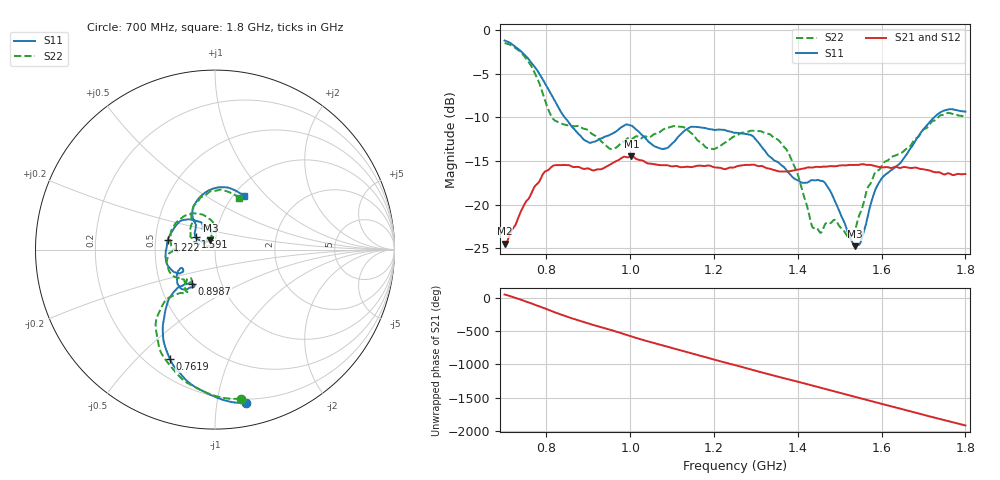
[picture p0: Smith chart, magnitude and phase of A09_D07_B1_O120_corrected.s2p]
! Created with skrf 1.9.0 (http://scikit-rf.org).
# Hz S RI R 50.0
!freq ReS11 ImS11 ReS21 ImS21 ReS12 ImS12 ReS22 ImS22
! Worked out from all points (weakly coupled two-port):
!   1601 points, 700 MHz to 1.8 GHz, reference 50 ohm
!   highest |S21| = -14.47 dB at 1.002 GHz (marker M1); lowest = -24.5 dB at 700 MHz (marker M2)
!   lowest |S11| = -24.7 dB at 1.537 GHz (marker M3), VSWR 1.12, Z = 47.2 + j4.92 ohm
!   |S11| at or under -10 dB: 843.6 MHz to 1.725 GHz (881.5 MHz wide, 68.6 % of centre)
!   |S22| runs from -23.7 to -1.5 dB; largest |S21 - S12| = 0.0037
!   S11 on the Smith chart (normalised r, x): 700 MHz: 0.17, -1.21; 761.9 MHz: 0.29, -0.63; 898.7 MHz: 0.73, -0.29; 1.222 GHz: 0.58, +0.07; 1.591 GHz: 0.80, +0.12; 1.8 GHz: 1.12, +0.76
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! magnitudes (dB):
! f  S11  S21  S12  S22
! 700 MHz  -1.2  -24.5  -24.2  -1.5
! 761.9 MHz  -3.6  -18.9  -18.8  -4.0
! 815.5 MHz  -7.7  -15.5  -15.6  -10.2
! 883.6 MHz  -12.2  -15.8  -15.7  -11.2
! 898.7 MHz  -12.8  -15.8  -15.9  -11.5
! 953.7 MHz  -11.9  -15.3  -15.3  -13.6
! 1.002 GHz  -10.9  -14.5  -14.6  -12.4
! 1.067 GHz  -13.5  -15.4  -15.4  -11.8
! 1.145 GHz  -11.1  -15.7  -15.7  -11.7
! 1.185 GHz  -11.3  -15.5  -15.6  -13.5
! 1.222 GHz  -11.4  -15.9  -15.9  -13.0
! 1.25 GHz  -11.8  -15.7  -15.6  -12.1
! 1.357 GHz  -15.3  -16.2  -16.1  -12.8
! 1.396 GHz  -17.1  -16.0  -16.0  -16.1
! 1.434 GHz  -17.2  -15.7  -15.7  -22.4
! 1.471 GHz  -17.9  -15.6  -15.6  -22.0
! 1.537 GHz  -24.7  -15.4  -15.4  -22.9
! 1.551 GHz  -24.1  -15.4  -15.4  -20.7
! 1.591 GHz  -17.7  -15.6  -15.6  -16.1
! 1.617 GHz  -16.3  -15.7  -15.7  -14.8
! 1.733 GHz  -9.6  -16.3  -16.3  -10.1
! 1.8 GHz  -9.3  -16.5  -16.5  -10.0
